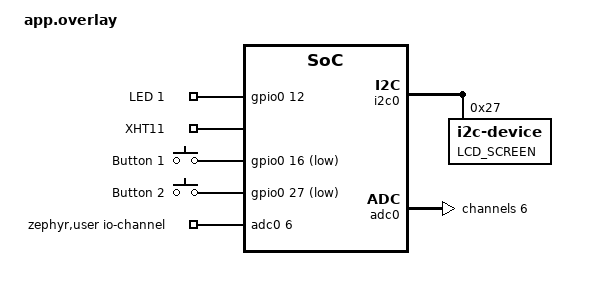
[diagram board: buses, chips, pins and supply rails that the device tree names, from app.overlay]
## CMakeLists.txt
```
# SPDX-License-Identifier: Apache-2.0

cmake_minimum_required(VERSION 3.20.0)

find_package(Zephyr REQUIRED HINTS $ENV{ZEPHYR_BASE})
project(hello_world)

target_sources(app PRIVATE 
    src/main.c
    src/lcd_screen_i2c.c
)
```

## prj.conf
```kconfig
# nothing here
CONFIG_ESP32_USE_UNSUPPORTED_REVISION=y
CONFIG_I2C=y
```

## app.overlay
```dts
/ {
	gpio_keys {
		compatible = "gpio-keys";
		ledyellow: led_yellow {
			gpios = <&gpio0 12 GPIO_ACTIVE_HIGH>;
			label = "LED 1";
	};
	

	dht11: dht11 {
	    compatible = "aosong,dht";
	    status = "okay";
	    dio-gpios = <&gpio0 17 GPIO_ACTIVE_LOW>;
	    label = "XHT11";
	};
	button_1: button_1 {
        gpios = <&gpio0 16 GPIO_ACTIVE_LOW>;
		label = "Button 1";
    };

    button_2: button_2 {
        gpios = <&gpio0 27 GPIO_ACTIVE_LOW>;
		label = "Button 2";
    };
};
		
	aliases {
		led-yellow = &ledyellow;
		lcd-screen = &lcdscreen;
		button-1 = &button_1;
		button-2 = &button_2;
	};

	zephyr,user {
		io-channels =
			<&adc0 6>;
			
	};
};

&i2c0 {
	lcdscreen: lcd_screen@27{
		compatible = "i2c-device";
		reg = <0x27>;
		label = "LCD_SCREEN";
	};
};

&adc0 {
	status = "okay";
	#address-cells = <1>;
	#size-cells = <0>;

	channel@6 {
		reg = <6>;
		zephyr,gain = "ADC_GAIN_1_4";
		zephyr,reference = "ADC_REF_INTERNAL";
		zephyr,acquisition-time = <ADC_ACQ_TIME_DEFAULT>;
		zephyr,resolution = <12>;
	};
};
```

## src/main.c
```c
#include <stdio.h>
#include <zephyr/kernel.h>
#include <zephyr/drivers/gpio.h>
#include <zephyr/drivers/i2c.h>
#include <zephyr/drivers/sensor.h>
#include <zephyr/drivers/adc.h>
#include "lcd_screen_i2c.h"

#define LED_YELLOW_NODE DT_ALIAS(led_yellow)
#define LCD_SCREEN_NODE DT_ALIAS(lcd_screen)
#define DHT11_NODE DT_ALIAS(dht11)
#define BUTTON_1_NODE DT_ALIAS(button_1)
#define BUTTON_2_NODE DT_ALIAS(button_2)
#define DT_SPEC_AND_COMMA(node_id, prop, idx) \
    ADC_DT_SPEC_GET_BY_IDX(node_id, idx),

#define DEBOUNCE_DELAY_MS 1000

static int64_t last_press_time_1 = 0;
static int64_t last_press_time_2 = 0;

const struct gpio_dt_spec led_yellow_gpio = GPIO_DT_SPEC_GET_OR(LED_YELLOW_NODE, gpios, {0});
static const struct i2c_dt_spec lcd_screen = I2C_DT_SPEC_GET(LCD_SCREEN_NODE);
const struct device *const dht11 = DEVICE_DT_GET_ONE(aosong_dht);
static const struct adc_dt_spec adc_channels[] = {
    DT_FOREACH_PROP_ELEM(DT_PATH(zephyr_user), io_channels, DT_SPEC_AND_COMMA)};

const struct gpio_dt_spec button_1 = GPIO_DT_SPEC_GET(BUTTON_1_NODE, gpios);
const struct gpio_dt_spec button_2 = GPIO_DT_SPEC_GET(BUTTON_2_NODE, gpios);

static struct gpio_callback button_cb;

void lcd_display_handler_button_1(struct k_work *work);
void lcd_display_handler_button_2(struct k_work *work);

K_WORK_DEFINE(lcd_display_work_1, lcd_display_handler_button_1);
K_WORK_DEFINE(lcd_display_work_2, lcd_display_handler_button_2);

void lcd_display_handler_button_1(struct k_work *work) {
    write_lcd(&lcd_screen, "Bouton 1 appuyé!", LCD_LINE_1);
    write_lcd(&lcd_screen, "Affichage LCD", LCD_LINE_2);
}

void lcd_display_handler_button_2(struct k_work *work) {
    write_lcd(&lcd_screen, "Bouton 2 appuyé!", LCD_LINE_1);
    write_lcd(&lcd_screen, "Affichage LCD", LCD_LINE_2);
}

void button_pressed_handler(const struct device *dev, struct gpio_callback *cb, uint32_t pins) {
    int64_t now = k_uptime_get(); 

    if (pins & BIT(button_1.pin)) {
        if (now - last_press_time_1 > DEBOUNCE_DELAY_MS) {
            last_press_time_1 = now;
            printk("Appui détecté sur le Bouton 1\n");
            k_work_submit(&lcd_display_work_1);  
        }
    }

    if (pins & BIT(button_2.pin)) {
        if (now - last_press_time_2 > DEBOUNCE_DELAY_MS) {
            last_press_time_2 = now;
            printk("Appui détecté sur le Bouton 2\n");
            k_work_submit(&lcd_display_work_2);  
        }
    }
}

int main(void) {
    gpio_pin_configure_dt(&led_yellow_gpio, GPIO_OUTPUT_HIGH);
    printf("Hello World! %s\n", CONFIG_BOARD_TARGET);
    init_lcd(&lcd_screen);

    gpio_pin_configure_dt(&button_1, GPIO_INPUT);
    gpio_pin_configure_dt(&button_2, GPIO_INPUT);

    gpio_pin_interrupt_configure_dt(&button_1, GPIO_INT_EDGE_TO_ACTIVE);
    gpio_pin_interrupt_configure_dt(&button_2, GPIO_INT_EDGE_TO_ACTIVE);

    gpio_init_callback(&button_cb, button_pressed_handler, BIT(button_1.pin) | BIT(button_2.pin));
    gpio_add_callback(button_1.port, &button_cb);
    gpio_add_callback(button_2.port, &button_cb);

    while (1) {
        int ret = sensor_sample_fetch(dht11);
        if (ret == 0) {
            struct sensor_value temp, humidity;
            sensor_channel_get(dht11, SENSOR_CHAN_AMBIENT_TEMP, &temp);
            sensor_channel_get(dht11, SENSOR_CHAN_HUMIDITY, &humidity);
            printk("Temperature: %d.%06d C, Humidity: %d.%06d %%\n", temp.val1, temp.val2, humidity.val1, humidity.val2);
        } else {
            printk("Erreur récup des données du capteur (%d)\n", ret);
        }

        uint32_t count = 0;
        uint16_t buf;
        struct adc_sequence sequence = {
            .buffer = &buf,
            .buffer_size = sizeof(buf),
        };

        for (size_t i = 0U; i < ARRAY_SIZE(adc_channels); i++) {
            if (!adc_is_ready_dt(&adc_channels[i])) {
                printk("ADC controller device %s not ready\n", adc_channels[i].dev->name);
                continue; 
            }

            int err = adc_channel_setup_dt(&adc_channels[i]);
            if (err < 0) {
                printk("Could not setup channel #%d (%d)\n", i, err);
                continue; 
            }

            for (int k = 0; k < 10; k++) {
                int32_t val_mv;
                printk("ADC reading[%u]:\n", count++);
                (void)adc_sequence_init_dt(&adc_channels[i], &sequence);
                err = adc_read_dt(&adc_channels[i], &sequence);
                if (err < 0) {
                    printk("Could not read (%d)\n", err);
                    continue;
                }

                val_mv = (adc_channels[i].channel_cfg.differential) ? (int32_t)((int16_t)buf) : (int32_t)buf;
                printk("- %s, channel %d: ", adc_channels[i].dev->name, adc_channels[i].channel_id);
                err = adc_raw_to_millivolts_dt(&adc_channels[i], &val_mv);
                if (err < 0) {
                    printk(" (value in mV not available)\n");
                } else {
                    printk(" = %" PRId32 " mV\n", val_mv);
                }
                k_sleep(K_SECONDS(1)); 
            }
        }
        k_sleep(K_SECONDS(10)); 
    }
}
```

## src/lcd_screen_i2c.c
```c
#include "lcd_screen_i2c.h"
#include <zephyr/kernel.h>
#include <zephyr/drivers/i2c.h>

static void lcd_toggle_enable(const struct i2c_dt_spec *dev_lcd_screen, uint8_t bits);
static void lcd_byte(const struct i2c_dt_spec *dev_lcd_screen, uint8_t bits, uint8_t mode);

void init_lcd(const struct i2c_dt_spec *dev_lcd_screen)
{
    lcd_byte(dev_lcd_screen, 0x33, LCD_CMD);
    lcd_byte(dev_lcd_screen, 0x32, LCD_CMD);
    lcd_byte(dev_lcd_screen, 0x06, LCD_CMD);
    lcd_byte(dev_lcd_screen, 0x0c, LCD_CMD);
    lcd_byte(dev_lcd_screen, 0x28, LCD_CMD);
    lcd_byte(dev_lcd_screen, 0x01, LCD_CMD);
    write_lcd(dev_lcd_screen, HELLO_MSG, LCD_LINE_1);
    write_lcd(dev_lcd_screen, ZEPHYR_MSG, LCD_LINE_2);
}

static void lcd_byte(const struct i2c_dt_spec *dev_lcd_screen, uint8_t bits, uint8_t mode)
{
    int ret = 0;
    uint8_t bits_high = mode | (bits & 0xf0) | LCD_BACKLIGHT;
    uint8_t bits_low = mode | ((bits << 4) & 0xf0) | LCD_BACKLIGHT;

    ret = i2c_write_dt(dev_lcd_screen, &bits_high, sizeof(bits_high));
    if (ret != 0)
    {
        printk("ERROR while writing to I2C");
    }
    lcd_toggle_enable(dev_lcd_screen, bits_high);

    ret = i2c_write_dt(dev_lcd_screen, &bits_low, sizeof(bits_low));
    if (ret != 0)
    {
        printk("ERROR while writing to I2C");
    }
    lcd_toggle_enable(dev_lcd_screen, bits_low);
}

void write_lcd(const struct i2c_dt_spec *dev_lcd_screen, const char *msg, uint8_t line)
{
    lcd_byte(dev_lcd_screen, line, LCD_CMD);

    // Todo: fill the array with space at the end to complete the line

    if (strlen(msg) > LCD_WIDTH)
    {
        return;
    }
    for (uint8_t i = 0; i < strlen(msg); i++)
    {
        lcd_byte(dev_lcd_screen, msg[i], LCD_CHR);
    }
}

static void lcd_toggle_enable(const struct i2c_dt_spec *dev_lcd_screen, uint8_t bits)
{
    int ret = 0;
    k_sleep(K_MSEC(5));
    uint8_t bits1 = bits | LCD_ENABLE;
    ret = i2c_write_dt(dev_lcd_screen, &bits1, sizeof(bits1));
    if (ret != 0)
    {
        printk("ERROR while writing to I2C");
    }
    k_sleep(K_MSEC(5));
    uint8_t bits2 = bits & ~LCD_ENABLE;
    ret = i2c_write_dt(dev_lcd_screen, &bits2, sizeof(bits2));
    if (ret != 0)
    {
        printk("ERROR while writing to I2C");
    }
    k_sleep(K_MSEC(5));
}
```
